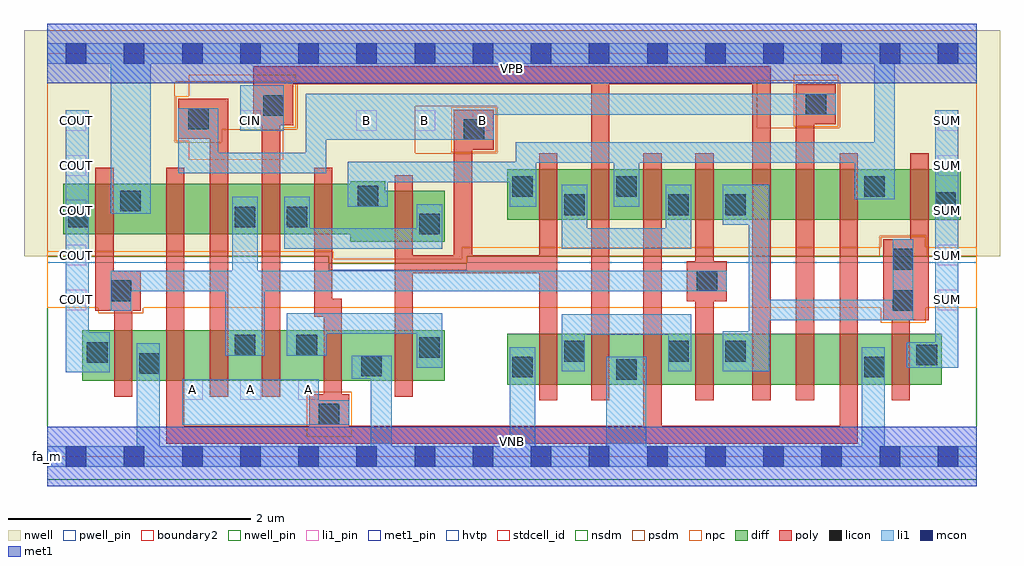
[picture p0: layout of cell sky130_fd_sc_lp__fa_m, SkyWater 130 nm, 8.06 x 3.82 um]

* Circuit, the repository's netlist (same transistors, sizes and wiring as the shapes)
* Copyright 2020 The SkyWater PDK Authors
*
* Licensed under the Apache License, Version 2.0 (the "License");
* you may not use this file except in compliance with the License.
* You may obtain a copy of the License at
*
*     https://www.apache.org/licenses/LICENSE-2.0
*
* Unless required by applicable law or agreed to in writing, software
* distributed under the License is distributed on an "AS IS" BASIS,
* WITHOUT WARRANTIES OR CONDITIONS OF ANY KIND, either express or implied.
* See the License for the specific language governing permissions and
* limitations under the License.
*
* SPDX-License-Identifier: Apache-2.0

.SUBCKT sky130_fd_sc_lp__fa_m A B CIN VGND VNB VPB VPWR COUT SUM
*.PININFO A:I B:I CIN:I VGND:I VNB:I VPB:I VPWR:I COUT:O SUM:O
MMIN2 COUT majb VGND VNB sky130_fd_pr__nfet_01v8 m=1 w=0.42U l=0.15U mult=1 sa=0.265
+ sb=0.265 sd=0.28 area=0.063 perim=1.14
MMIN3 SUM sumb VGND VNB sky130_fd_pr__nfet_01v8 m=1 w=0.42U l=0.15U mult=1 sa=0.265
+ sb=0.265 sd=0.28 area=0.063 perim=1.14
MMNmaj10 majb B sndNAp1 VNB sky130_fd_pr__nfet_01v8 m=1 w=0.42U l=0.15U mult=1
+ sa=0.265 sb=0.265 sd=0.28 area=0.063 perim=1.14
MMNmaj11 sndNAp1 A VGND VNB sky130_fd_pr__nfet_01v8 m=1 w=0.42U l=0.15U mult=1
+ sa=0.265 sb=0.265 sd=0.28 area=0.063 perim=1.14
MMNmaj30 majb CIN nmajmid VNB sky130_fd_pr__nfet_01v8 m=1 w=0.42U l=0.15U mult=1
+ sa=0.265 sb=0.265 sd=0.28 area=0.063 perim=1.14
MMNmaj21 nmajmid A VGND VNB sky130_fd_pr__nfet_01v8 m=1 w=0.42U l=0.15U mult=1
+ sa=0.265 sb=0.265 sd=0.28 area=0.063 perim=1.14
MMNmaj20 VGND B nmajmid VNB sky130_fd_pr__nfet_01v8 m=1 w=0.42U l=0.15U mult=1
+ sa=0.265 sb=0.265 sd=0.28 area=0.063 perim=1.14
MMNs2s0 VGND A sndNAn4 VNB sky130_fd_pr__nfet_01v8 m=1 w=0.42U l=0.15U mult=1 sa=0.265
+ sb=0.265 sd=0.28 area=0.063 perim=1.14
MMNs2s1 sndNAn4 B sndNBn4 VNB sky130_fd_pr__nfet_01v8 m=1 w=0.42U l=0.15U mult=1
+ sa=0.265 sb=0.265 sd=0.28 area=0.063 perim=1.14
MMNs2s2 sndNBn4 CIN sumb VNB sky130_fd_pr__nfet_01v8 m=1 w=0.42U l=0.15U mult=1
+ sa=0.265 sb=0.265 sd=0.28 area=0.063 perim=1.14
MMNs3s0 nint1 A VGND VNB sky130_fd_pr__nfet_01v8 m=1 w=0.42U l=0.15U mult=1 sa=0.265
+ sb=0.265 sd=0.28 area=0.063 perim=1.14
MMNs3s1 nint1 B VGND VNB sky130_fd_pr__nfet_01v8 m=1 w=0.42U l=0.15U mult=1 sa=0.265
+ sb=0.265 sd=0.28 area=0.063 perim=1.14
MMNs3s2 nint1 CIN VGND VNB sky130_fd_pr__nfet_01v8 m=1 w=0.42U l=0.15U mult=1 sa=0.265
+ sb=0.265 sd=0.28 area=0.063 perim=1.14
MMNs1s nint1 majb sumb VNB sky130_fd_pr__nfet_01v8 m=1 w=0.42U l=0.15U mult=1 sa=0.265
+ sb=0.265 sd=0.28 area=0.063 perim=1.14
MMIP2 COUT majb VPWR VPB sky130_fd_pr__pfet_01v8_hvt m=1 w=0.42U l=0.15U mult=1
+ sa=0.265 sb=0.265 sd=0.28 area=0.063 perim=1.14
MMIP3 SUM sumb VPWR VPB sky130_fd_pr__pfet_01v8_hvt m=1 w=0.42U l=0.15U mult=1
+ sa=0.265 sb=0.265 sd=0.28 area=0.063 perim=1.14
MMPmaj10 VPWR A sndPAp1 VPB sky130_fd_pr__pfet_01v8_hvt m=1 w=0.42U l=0.15U mult=1
+ sa=0.265 sb=0.265 sd=0.28 area=0.063 perim=1.14
MMPmaj11 sndPAp1 B majb VPB sky130_fd_pr__pfet_01v8_hvt m=1 w=0.42U l=0.15U mult=1
+ sa=0.265 sb=0.265 sd=0.28 area=0.063 perim=1.14
MMPmaj20 VPWR B pmajmid VPB sky130_fd_pr__pfet_01v8_hvt m=1 w=0.42U l=0.15U mult=1
+ sa=0.265 sb=0.265 sd=0.28 area=0.063 perim=1.14
MMPmaj30 pmajmid CIN majb VPB sky130_fd_pr__pfet_01v8_hvt m=1 w=0.42U l=0.15U mult=1
+ sa=0.265 sb=0.265 sd=0.28 area=0.063 perim=1.14
MMPmaj21 pmajmid A VPWR VPB sky130_fd_pr__pfet_01v8_hvt m=1 w=0.42U l=0.15U mult=1
+ sa=0.265 sb=0.265 sd=0.28 area=0.063 perim=1.14
MMPs2s0 VPWR A sndPAp4 VPB sky130_fd_pr__pfet_01v8_hvt m=1 w=0.42U l=0.15U mult=1
+ sa=0.265 sb=0.265 sd=0.28 area=0.063 perim=1.14
MMPs2s1 sndPAp4 B sndPBp4 VPB sky130_fd_pr__pfet_01v8_hvt m=1 w=0.42U l=0.15U mult=1
+ sa=0.265 sb=0.265 sd=0.28 area=0.063 perim=1.14
MMPs2s2 sndPBp4 CIN sumb VPB sky130_fd_pr__pfet_01v8_hvt m=1 w=0.42U l=0.15U mult=1
+ sa=0.265 sb=0.265 sd=0.28 area=0.063 perim=1.14
MMPs3s0 pint1 A VPWR VPB sky130_fd_pr__pfet_01v8_hvt m=1 w=0.42U l=0.15U mult=1
+ sa=0.265 sb=0.265 sd=0.28 area=0.063 perim=1.14
MMPs3s1 pint1 B VPWR VPB sky130_fd_pr__pfet_01v8_hvt m=1 w=0.42U l=0.15U mult=1
+ sa=0.265 sb=0.265 sd=0.28 area=0.063 perim=1.14
MMPs3s2 pint1 CIN VPWR VPB sky130_fd_pr__pfet_01v8_hvt m=1 w=0.42U l=0.15U mult=1
+ sa=0.265 sb=0.265 sd=0.28 area=0.063 perim=1.14
MMPs1s pint1 majb sumb VPB sky130_fd_pr__pfet_01v8_hvt m=1 w=0.42U l=0.15U mult=1
+ sa=0.265 sb=0.265 sd=0.28 area=0.063 perim=1.14
.ENDS sky130_fd_sc_lp__fa_m

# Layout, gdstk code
import gdstk
lib = gdstk.Library(unit=1e-6, precision=1e-09)
def R(c, l, rs):  # rectangles x0, y0, x1, y1
    for r in rs: c.add(gdstk.rectangle(r[:2], r[2:], *l))
def A(c, l, x, y, w, h, nx, ny, dx, dy):  # array of equal rectangles
    R(c, l, [(x+i*dx, y+j*dy, x+i*dx+w, y+j*dy+h) for i in range(nx) for j in range(ny)])
def P(c, l, *ps):  # polygons
    for p in ps: c.add(gdstk.Polygon(p, *l))
nwell_pin = (64, 16)
nwell = (64, 20)
diff = (65, 20)
poly = (66, 20)
licon = (66, 44)
li1_pin = (67, 16)
li1 = (67, 20)
mcon = (67, 44)
met1_pin = (68, 16)
met1 = (68, 20)
hvtp = (78, 44)
stdcell_id = (81, 4)
nsdm = (93, 44)
psdm = (94, 20)
npc = (95, 20)
pwell_pin = (122, 16)
boundary2 = (236, 0)

sky130_fd_sc_lp__fa_m = lib.new_cell('sky130_fd_sc_lp__fa_m')
R(sky130_fd_sc_lp__fa_m, nwell_pin, [(0,3.085,7.68,3.33)])
P(sky130_fd_sc_lp__fa_m, nwell, [(7.87,3.52),(-0.19,3.52),(-0.19,1.655),(2.325,1.655),(2.325,1.595),(3.465,1.595),(3.465,1.655),(7.87,1.655)])
R(sky130_fd_sc_lp__fa_m, diff, [(3.8,0.595,7.39,1.015), (0.29,0.625,3.285,1.045), (3.8,1.955,7.545,2.375)])
P(sky130_fd_sc_lp__fa_m, diff, [(3.285,2.195),(2.795,2.195),(2.795,2.275),(2.505,2.275),(2.505,2.255),(0.135,2.255),(0.135,1.835),(2.505,1.835),(2.505,1.775),(3.285,1.775)])
P(sky130_fd_sc_lp__fa_m, poly, [(0.775,1.535),(0.55,1.535),(0.55,2.385),(0.4,2.385),(0.4,1.205),(0.555,1.205),(0.555,0.495),(0.705,0.495),(0.705,1.205),(0.775,1.205)],
  [(1.495,2.955),(1.085,2.955),(1.085,2.625),(1.345,2.625),(1.345,0.495),(1.495,0.495)],
  [(4.215,2.505),(4.065,2.505),(4.065,1.665),(3.51,1.665),(3.51,2.535),(3.69,2.535),(3.69,2.865),(3.36,2.865),(3.36,1.665),(3.02,1.665),(3.02,2.325),(2.87,2.325),(2.87,0.495),(3.02,0.495),(3.02,1.515),(4.065,1.515),(4.065,0.465),(4.215,0.465)],
  [(5.615,1.615),(5.505,1.615),(5.505,2.505),(5.355,2.505),(5.355,1.615),(5.285,1.615),(5.285,1.285),(5.355,1.285),(5.355,0.465),(5.505,0.465),(5.505,1.285),(5.615,1.285)],
  [(5.975,3.225),(1.705,3.225),(1.705,2.735),(1.775,2.735),(1.775,0.495),(1.925,0.495),(1.925,2.735),(2.035,2.735),(2.035,3.075),(4.495,3.075),(4.495,0.465),(4.645,0.465),(4.645,3.075),(5.825,3.075),(5.825,0.465),(5.975,0.465)],
  [(6.515,3.075),(6.185,3.075),(6.185,0.465),(6.335,0.465),(6.335,2.745),(6.515,2.745)],
  [(6.695,2.505),(6.545,2.505),(6.545,0.255),(5.075,0.255),(5.075,2.505),(4.925,2.505),(4.925,0.255),(2.495,0.255),(2.495,0.515),(2.435,0.515),(2.435,1.305),(2.355,1.305),(2.355,2.385),(2.205,2.385),(2.205,1.155),(2.285,1.155),(2.285,0.515),(2.165,0.515),(2.165,0.255),(1.135,0.255),(1.135,2.385),(0.985,2.385),(0.985,0.105),(6.695,0.105)],
  [(7.28,2.505),(7.13,2.505),(7.13,1.795),(6.905,1.795),(6.905,1.125),(6.975,1.125),(6.975,0.465),(7.125,0.465),(7.125,1.125),(7.28,1.125)])
R(sky130_fd_sc_lp__fa_m, licon, [(2.245,0.265,2.415,0.435), (4.7,0.635,4.87,0.805), (3.84,0.655,4.01,0.825), (6.75,0.655,6.92,0.825), (2.595,0.665,2.765,0.835), (0.76,0.685,0.93,0.855), (7.18,0.755,7.35,0.925), (0.33,0.775,0.5,0.945), (4.27,0.785,4.44,0.955), (5.13,0.785,5.3,0.955), (5.6,0.785,5.77,0.955), (3.075,0.815,3.245,0.985), (1.55,0.835,1.72,1.005), (2.06,0.835,2.23,1.005), (6.985,1.205,7.155,1.375), (0.525,1.285,0.695,1.455), (5.365,1.365,5.535,1.535), (6.985,1.545,7.155,1.715), (3.075,1.835,3.245,2.005), (0.175,1.895,0.345,2.065), (1.55,1.895,1.72,2.065), (1.98,1.895,2.15,2.065), (4.27,1.995,4.44,2.165), (5.13,1.995,5.3,2.165), (5.6,1.995,5.77,2.165), (7.335,2.015,7.505,2.185), (0.605,2.025,0.775,2.195), (2.565,2.065,2.735,2.235), (3.84,2.145,4.01,2.315), (4.7,2.145,4.87,2.315), (6.75,2.145,6.92,2.315), (3.44,2.615,3.61,2.785), (1.165,2.705,1.335,2.875), (1.785,2.815,1.955,2.985), (6.265,2.825,6.435,2.995)])
A(sky130_fd_sc_lp__fa_m, li1_pin, 1.115, 0.47, 0.17, 0.17, 3, 1, 0.48, 0)
A(sky130_fd_sc_lp__fa_m, li1_pin, 0.155, 1.21, 0.17, 0.17, 1, 5, 0, 0.37)
A(sky130_fd_sc_lp__fa_m, li1_pin, 7.355, 1.21, 0.17, 0.17, 1, 5, 0, 0.37)
A(sky130_fd_sc_lp__fa_m, li1_pin, 2.555, 2.69, 0.17, 0.17, 3, 1, 0.48, 0)
R(sky130_fd_sc_lp__fa_m, li1_pin, [(1.595,2.69,1.765,2.86)])
R(sky130_fd_sc_lp__fa_m, li1, [(1.595,2.69,1.955,3.065)])
P(sky130_fd_sc_lp__fa_m, li1, [(0.525,2.005),(0.525,3.245),(0,3.245),(0,3.415),(7.68,3.415),(7.68,3.245),(7,3.245),(7,2.125),(6.67,2.125),(6.67,2.425),(4.89,2.425),(4.89,2.065),(4.68,2.065),(4.68,2.425),(4.04,2.425),(4.04,2.065),(3.82,2.065),(3.82,2.265),(2.815,2.265),(2.815,2.065),(2.485,2.065),(2.485,2.435),(3.87,2.435),(3.87,2.595),(6.83,2.595),(6.83,3.245),(0.855,3.245),(0.855,2.005)],
  [(4.62,0.085),(4.62,0.825),(4.95,0.825),(4.95,0.085),(6.73,0.085),(6.73,0.905),(6.92,0.905),(6.92,0.085),(7.68,0.085),(7.68,-0.085),(0,-0.085),(0,0.085),(0.74,0.085),(0.74,0.935),(0.93,0.935),(0.93,0.085),(2.675,0.085),(2.675,0.645),(2.515,0.645),(2.515,0.835),(2.845,0.835),(2.845,0.085),(3.82,0.085),(3.82,0.905),(4.03,0.905),(4.03,0.085)],
  [(1.53,1.535),(1.53,2.145),(1.74,2.145),(1.74,1.535),(5.615,1.535),(5.615,1.365),(1.8,1.365),(1.8,0.835),(1.47,0.835),(1.47,1.365),(0.695,1.365),(0.695,1.205),(0.525,1.205),(0.525,1.535)],
  [(1.085,2.34),(1.085,2.875),(1.415,2.875),(1.415,2.51),(2.135,2.51),(2.135,2.995),(6.515,2.995),(6.515,2.825),(3.69,2.825),(3.69,2.615),(2.305,2.615),(2.305,2.34)],
  [(5.965,1.295),(6.985,1.295),(6.985,1.795),(7.155,1.795),(7.155,1.125),(5.965,1.125),(5.965,0.705),(5.58,0.705),(5.58,1.035),(5.795,1.035),(5.795,1.915),(5.58,1.915),(5.58,2.245),(5.965,2.245)],
  [(7.335,0.945),(7.335,2.86),(7.525,2.86),(7.525,0.735),(7.1,0.735),(7.1,0.945)],
  [(4.46,1.885),(5.11,1.885),(5.11,2.245),(5.32,2.245),(5.32,1.715),(4.25,1.715),(4.25,2.245),(4.46,2.245)],
  [(2.17,1.885),(3.055,1.885),(3.055,2.085),(3.265,2.085),(3.265,1.715),(1.96,1.715),(1.96,2.145),(2.17,2.145)],
  [(0.155,2.86),(0.345,2.86),(0.345,1.025),(0.52,1.025),(0.52,0.695),(0.155,0.695)],
  [(5.13,1.005),(4.44,1.005),(4.44,0.705),(4.25,0.705),(4.25,1.175),(5.32,1.175),(5.32,0.705),(5.13,0.705)],
  [(3.055,0.735),(3.055,1.015),(2.31,1.015),(2.31,0.835),(1.98,0.835),(1.98,1.185),(3.265,1.185),(3.265,0.735)],
  [(1.115,0.64),(2.245,0.64),(2.245,0.465),(2.495,0.465),(2.495,0.265),(1.115,0.265)])
A(sky130_fd_sc_lp__fa_m, mcon, 0.155, -0.085, 0.17, 0.17, 16, 2, 0.48, 3.33)
R(sky130_fd_sc_lp__fa_m, met1_pin, [(0,0,7.68,0.245), (0,3.085,7.68,3.33)])
R(sky130_fd_sc_lp__fa_m, met1, [(0,-0.245,7.68,0.245), (0,3.085,7.68,3.575)])
P(sky130_fd_sc_lp__fa_m, hvtp, [(7.68,3.33),(0,3.33),(0,1.6),(2.325,1.6),(2.325,1.54),(3.465,1.54),(3.465,1.6),(7.68,1.6)])
R(sky130_fd_sc_lp__fa_m, stdcell_id, [(0,0,7.68,3.33)])
P(sky130_fd_sc_lp__fa_m, nsdm, [(7.68,1.655),(3.465,1.655),(3.465,1.595),(2.325,1.595),(2.325,1.655),(0,1.655),(0,-0.19),(7.68,-0.19)])
P(sky130_fd_sc_lp__fa_m, psdm, [(7.68,3.52),(6.545,3.52),(6.545,2.715),(5.865,2.715),(5.865,3.105),(6.545,3.105),(6.545,3.52),(3.72,3.52),(3.72,2.505),(3.04,2.505),(3.04,2.895),(3.72,2.895),(3.72,3.52),(2.065,3.52),(2.065,2.705),(1.445,2.705),(1.445,2.595),(1.055,2.595),(1.055,3.095),(2.065,3.095),(2.065,3.52),(0,3.52),(0,1.655),(2.325,1.655),(2.325,1.595),(3.465,1.595),(3.465,1.655),(6.875,1.655),(6.875,1.825),(7.265,1.825),(7.265,1.655),(7.68,1.655)])
R(sky130_fd_sc_lp__fa_m, npc, [(2.145,0.165,2.515,0.535), (3.34,2.515,3.71,2.885), (6.165,2.725,6.535,3.155)])
P(sky130_fd_sc_lp__fa_m, npc, [(2.055,3.155),(1.17,3.155),(1.17,2.975),(1.065,2.975),(1.065,2.605),(1.17,2.605),(1.17,2.45),(1.95,2.45),(1.95,2.715),(2.055,2.715)],
  [(7.68,1.73),(7.255,1.73),(7.255,1.815),(6.885,1.815),(6.885,1.73),(3.425,1.73),(3.425,1.635),(2.365,1.635),(2.365,1.695),(0,1.695),(0,1.23),(0.425,1.23),(0.425,1.185),(0.795,1.185),(0.795,1.23),(6.885,1.23),(6.885,1.105),(7.255,1.105),(7.255,1.23),(7.68,1.23)])
R(sky130_fd_sc_lp__fa_m, pwell_pin, [(0,0,7.68,0.245)])
R(sky130_fd_sc_lp__fa_m, boundary2, [(0,0,7.68,3.33)])
sky130_fd_sc_lp__fa_m.add(gdstk.Label('VNB', (3.84,0.123), layer=64, texttype=59))
sky130_fd_sc_lp__fa_m.add(gdstk.Label('VPB', (3.84,3.208), layer=64, texttype=5))
sky130_fd_sc_lp__fa_m.add(gdstk.Label('fa_m', (0,0), layer=83, texttype=44))
sky130_fd_sc_lp__fa_m.add(gdstk.Label('VPWR', (3.84,3.208), layer=68, texttype=5))
sky130_fd_sc_lp__fa_m.add(gdstk.Label('VGND', (3.84,0.123), layer=68, texttype=5))
sky130_fd_sc_lp__fa_m.add(gdstk.Label('B', (2.64,2.775), layer=67, texttype=5))
sky130_fd_sc_lp__fa_m.add(gdstk.Label('B', (3.12,2.775), layer=67, texttype=5))
sky130_fd_sc_lp__fa_m.add(gdstk.Label('B', (3.6,2.775), layer=67, texttype=5))
sky130_fd_sc_lp__fa_m.add(gdstk.Label('COUT', (0.24,1.295), layer=67, texttype=5))
sky130_fd_sc_lp__fa_m.add(gdstk.Label('COUT', (0.24,1.665), layer=67, texttype=5))
sky130_fd_sc_lp__fa_m.add(gdstk.Label('COUT', (0.24,2.035), layer=67, texttype=5))
sky130_fd_sc_lp__fa_m.add(gdstk.Label('COUT', (0.24,2.405), layer=67, texttype=5))
sky130_fd_sc_lp__fa_m.add(gdstk.Label('COUT', (0.24,2.775), layer=67, texttype=5))
sky130_fd_sc_lp__fa_m.add(gdstk.Label('SUM', (7.44,1.295), layer=67, texttype=5))
sky130_fd_sc_lp__fa_m.add(gdstk.Label('SUM', (7.44,1.665), layer=67, texttype=5))
sky130_fd_sc_lp__fa_m.add(gdstk.Label('SUM', (7.44,2.035), layer=67, texttype=5))
sky130_fd_sc_lp__fa_m.add(gdstk.Label('SUM', (7.44,2.405), layer=67, texttype=5))
sky130_fd_sc_lp__fa_m.add(gdstk.Label('SUM', (7.44,2.775), layer=67, texttype=5))
sky130_fd_sc_lp__fa_m.add(gdstk.Label('A', (1.2,0.555), layer=67, texttype=5))
sky130_fd_sc_lp__fa_m.add(gdstk.Label('A', (1.68,0.555), layer=67, texttype=5))
sky130_fd_sc_lp__fa_m.add(gdstk.Label('A', (2.16,0.555), layer=67, texttype=5))
sky130_fd_sc_lp__fa_m.add(gdstk.Label('CIN', (1.68,2.775), layer=67, texttype=5))

lib.write_gds('sky130_fd_sc_lp__fa_m.gds')
